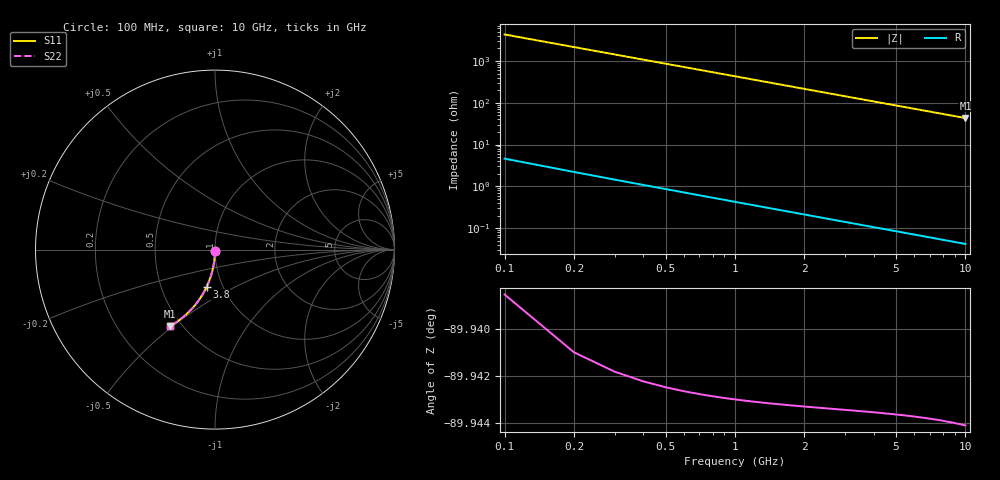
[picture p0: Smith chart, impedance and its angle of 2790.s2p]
# Hz S RI R 50.00
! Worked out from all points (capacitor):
!   100 points, 100 MHz to 10 GHz, reference 50 ohm
!   read as one part in shunt: C = 370 fF near 100 MHz
!   lowest |Z| = 43.1 ohm at 10 GHz (marker M1)
!   S11 on the Smith chart (normalised r, x): 100 MHz: 1.00, -0.01; 3.8 GHz: 0.84, -0.37; 10 GHz: 0.43, -0.49
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1e8  -1.39e-05 -0.00574  0.9999 -0.00589  0.9999 -0.00589  -1.39e-05 -0.00574
2e8  -0.000121 -0.0115  0.9998 -0.0118  0.9998 -0.0118  -0.000121 -0.0115
3e8  -0.000296 -0.0172  0.9997 -0.0177  0.9997 -0.0177  -0.000296 -0.0172
4e8  -0.000538 -0.023  0.9994 -0.0236  0.9994 -0.0236  -0.000538 -0.023
5e8  -0.000848 -0.0287  0.9991 -0.0294  0.9991 -0.0294  -0.000848 -0.0287
6e8  -0.00122 -0.0344  0.9987 -0.0353  0.9987 -0.0353  -0.00122 -0.0344
7e8  -0.00167 -0.0401  0.9983 -0.0412  0.9983 -0.0412  -0.00167 -0.0401
8e8  -0.00218 -0.0458  0.9978 -0.047  0.9978 -0.047  -0.00218 -0.0458
9e8  -0.00276 -0.0515  0.9972 -0.0529  0.9972 -0.0529  -0.00276 -0.0515
1.1e9  -0.00411 -0.0629  0.9958 -0.0646  0.9958 -0.0646  -0.00411 -0.0629
1.4e9  -0.00664 -0.0799  0.9933 -0.0819  0.9933 -0.0819  -0.00664 -0.0799
1.8e9  -0.0109 -0.1022  0.989 -0.1049  0.989 -0.1049  -0.0109 -0.1022
2.1e9  -0.0148 -0.1188  0.9851 -0.1219  0.9851 -0.1219  -0.0148 -0.1188
2.5e9  -0.0208 -0.1405  0.9791 -0.1443  0.9791 -0.1443  -0.0208 -0.1405
2.9e9  -0.0278 -0.1618  0.9721 -0.1662  0.9721 -0.1662  -0.0278 -0.1618
3.4e9  -0.0378 -0.1878  0.9621 -0.1928  0.9621 -0.1928  -0.0378 -0.1878
3.8e9  -0.0468 -0.2079  0.9532 -0.2135  0.9532 -0.2135  -0.0468 -0.2079
4.4e9  -0.0617 -0.2368  0.9382 -0.2434  0.9382 -0.2434  -0.0617 -0.2368
5.1e9  -0.0811 -0.2687  0.9188 -0.2764  0.9188 -0.2764  -0.0811 -0.2687
6.7e9  -0.1321 -0.3331  0.8678 -0.3433  0.8678 -0.3433  -0.1321 -0.3331
8.4e9  -0.1931 -0.3879  0.8068 -0.4006  0.8068 -0.4006  -0.1931 -0.3879
1e10  -0.2532 -0.4268  0.7466 -0.442  0.7466 -0.442  -0.2532 -0.4268
